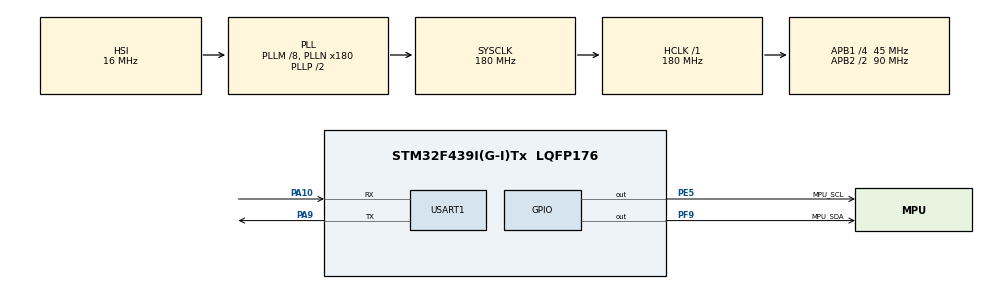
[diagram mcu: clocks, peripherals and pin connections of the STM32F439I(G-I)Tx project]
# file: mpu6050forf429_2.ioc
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Mcu.Family=STM32F4
Mcu.Name=STM32F439I(G-I)Tx
Mcu.Package=LQFP176
NVIC.PriorityGroup=NVIC_PRIORITYGROUP_4
PA10.Mode=Asynchronous
PA10.Signal=USART1_RX
PA13.Mode=Serial_Wire
PA13.Signal=SYS_JTMS-SWDIO
PA14.Mode=Serial_Wire
PA14.Signal=SYS_JTCK-SWCLK
PA9.Mode=Asynchronous
PA9.Signal=USART1_TX
PE5.GPIO_Label=MPU_SCL
PE5.GPIO_PuPd=GPIO_PULLUP
PE5.GPIO_Speed=GPIO_SPEED_FREQ_VERY_HIGH
PE5.Signal=GPIO_Output
PF9.GPIO_Label=MPU_SDA
PF9.GPIO_PuPd=GPIO_PULLUP
PF9.GPIO_Speed=GPIO_SPEED_FREQ_VERY_HIGH
PF9.Signal=GPIO_Output
PH0/OSC_IN.Mode=HSE-External-Oscillator
PH0/OSC_IN.Signal=RCC_OSC_IN
PH1/OSC_OUT.Mode=HSE-External-Oscillator
PH1/OSC_OUT.Signal=RCC_OSC_OUT
ProjectManager.HeapSize=0x200
ProjectManager.StackSize=0x400
ProjectManager.TargetToolchain=MDK-ARM V5.27
RCC.48MHZClocksFreq_Value=90000000
RCC.AHBFreq_Value=180000000
RCC.APB1CLKDivider=RCC_HCLK_DIV4
RCC.APB1Freq_Value=45000000
RCC.APB1TimFreq_Value=90000000
RCC.APB2CLKDivider=RCC_HCLK_DIV2
RCC.APB2Freq_Value=90000000
RCC.APB2TimFreq_Value=180000000
RCC.CortexFreq_Value=180000000
RCC.HCLKFreq_Value=180000000
RCC.HSE_VALUE=25000000
RCC.HSI_VALUE=16000000
RCC.LSE_VALUE=32768
RCC.PLLM=8
RCC.PLLN=180
RCC.SYSCLKFreq_VALUE=180000000
RCC.SYSCLKSource=RCC_SYSCLKSOURCE_PLLCLK
RCC.VCOOutputFreq_Value=360000000
USART1.VirtualMode=VM_ASYNC
board=custom

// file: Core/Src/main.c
/* USER CODE BEGIN Header */
/**
  ******************************************************************************
  * @file           : main.c
  * @brief          : Main program body
  ******************************************************************************
  * @attention
  *
  * <h2><center>&copy; Copyright (c) 2021 STMicroelectronics.
  * All rights reserved.</center></h2>
  *
  * This software component is licensed by ST under BSD 3-Clause license,
  * the "License"; You may not use this file except in compliance with the
  * License. You may obtain a copy of the License at:
  *                        opensource.org/licenses/BSD-3-Clause
  *
  ******************************************************************************
  */
/* USER CODE END Header */
#include "main.h"
#include "usart.h"
#include "gpio.h"

/* USER CODE BEGIN Includes */

#include "mpu6050.h"
#include "inv_mpu.h"
#include "delay.h"
#include <stdio.h>

/* USER CODE END Includes */

/* USER CODE BEGIN PM */

float pitch,roll,yaw; 		//欧拉角
short aacx,aacy,aacz;		//加速度传感器原始数据
short gyrox,gyroy,gyroz;	//陀螺仪原始数据
short temp;					//温度

/* USER CODE END PM */

void SystemClock_Config(void);

/* USER CODE BEGIN 0 */

int fputc(int ch, FILE *f)
{
	uint8_t temp[1] = {ch};
	HAL_UART_Transmit(&huart1, temp, 1, 2);//huart1需要根据你的配置修改
	return ch;
}

/* USER CODE END 0 */

int main(void)
{

  /* MCU Configuration--------------------------------------------------------*/

  /* Reset of all peripherals, Initializes the Flash interface and the Systick. */
  HAL_Init();

  /* Configure the system clock */
  SystemClock_Config();

  /* Initialize all configured peripherals */
  MX_GPIO_Init();
  MX_USART1_UART_Init();
  /* USER CODE BEGIN 2 */

	printf("MPU6050 TEST\r\n");

	delay_init(180);
	while(MPU_Init());
	while(mpu_dmp_init()){
		printf("MPU6050 Error!!!\r\n");
		delay_ms(500);
	}
	printf("MPU6050 OK\r\n");

  /* USER CODE END 2 */

  /* Infinite loop */
  /* USER CODE BEGIN WHILE */
  while (1)
  {
		if(mpu_dmp_get_data(&pitch,&roll,&yaw)==0)
		{
			printf("%f,%f,%f\n", pitch, roll, yaw);
			temp=MPU_Get_Temperature();	//得到温度值
			MPU_Get_Accelerometer(&aacx,&aacy,&aacz);	//得到加速度传感器数据
			MPU_Get_Gyroscope(&gyrox,&gyroy,&gyroz);	//得到陀螺仪数据

		}

    /* USER CODE END WHILE */

  }
}

void SystemClock_Config(void)
{
  RCC_OscInitTypeDef RCC_OscInitStruct = {0};
  RCC_ClkInitTypeDef RCC_ClkInitStruct = {0};

  /** Configure the main internal regulator output voltage
  */
  __HAL_RCC_PWR_CLK_ENABLE();
  __HAL_PWR_VOLTAGESCALING_CONFIG(PWR_REGULATOR_VOLTAGE_SCALE1);
  /** Initializes the RCC Oscillators according to the specified parameters
  * in the RCC_OscInitTypeDef structure.
  */
  RCC_OscInitStruct.OscillatorType = RCC_OSCILLATORTYPE_HSI;
  RCC_OscInitStruct.HSIState = RCC_HSI_ON;
  RCC_OscInitStruct.HSICalibrationValue = RCC_HSICALIBRATION_DEFAULT;
  RCC_OscInitStruct.PLL.PLLState = RCC_PLL_ON;
  RCC_OscInitStruct.PLL.PLLSource = RCC_PLLSOURCE_HSI;
  RCC_OscInitStruct.PLL.PLLM = 8;
  RCC_OscInitStruct.PLL.PLLN = 180;
  RCC_OscInitStruct.PLL.PLLP = RCC_PLLP_DIV2;
  RCC_OscInitStruct.PLL.PLLQ = 4;
  if (HAL_RCC_OscConfig(&RCC_OscInitStruct) != HAL_OK)
  {
    Error_Handler();
  }
  /** Activate the Over-Drive mode
  */
  if (HAL_PWREx_EnableOverDrive() != HAL_OK)
  {
    Error_Handler();
  }
  /** Initializes the CPU, AHB and APB buses clocks
  */
  RCC_ClkInitStruct.ClockType = RCC_CLOCKTYPE_HCLK|RCC_CLOCKTYPE_SYSCLK
                              |RCC_CLOCKTYPE_PCLK1|RCC_CLOCKTYPE_PCLK2;
  RCC_ClkInitStruct.SYSCLKSource = RCC_SYSCLKSOURCE_PLLCLK;
  RCC_ClkInitStruct.AHBCLKDivider = RCC_SYSCLK_DIV1;
  RCC_ClkInitStruct.APB1CLKDivider = RCC_HCLK_DIV4;
  RCC_ClkInitStruct.APB2CLKDivider = RCC_HCLK_DIV2;

  if (HAL_RCC_ClockConfig(&RCC_ClkInitStruct, FLASH_LATENCY_5) != HAL_OK)
  {
    Error_Handler();
  }
}

void Error_Handler(void)
{
  __disable_irq();
  while (1)
  {
  }
}

/************************ (C) COPYRIGHT STMicroelectronics *****END OF FILE****/
